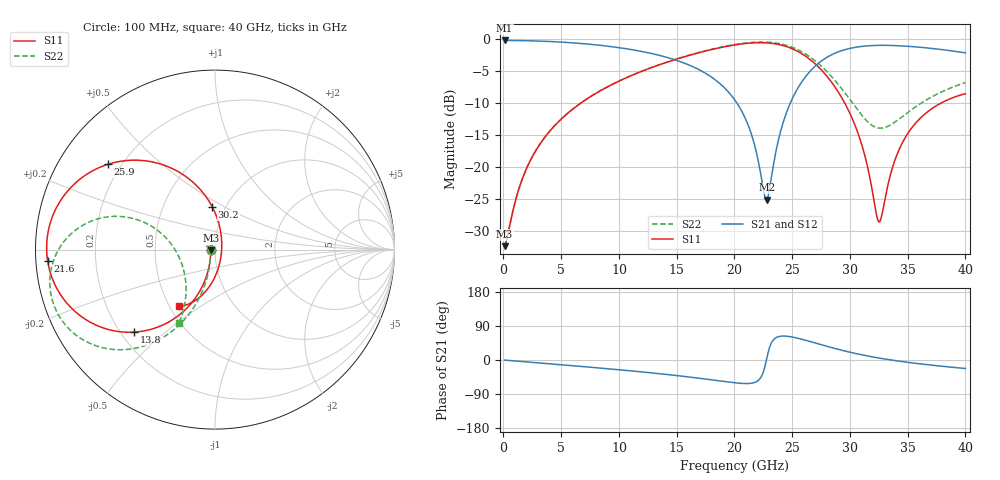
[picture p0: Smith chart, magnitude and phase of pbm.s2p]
! E_s8_L1L3_p1200_round_g2: reduced via model, differential mode (per line 50 ohm)
# Hz S RI R 50
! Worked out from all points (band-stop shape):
!   400 points, 100 MHz to 40 GHz, reference 50 ohm
!   highest |S21| = -0.21 dB at 100 MHz (marker M1); lowest = -25.1 dB at 22.8 GHz (marker M2)
!   |S21| within 3 dB of the highest: start of sweep to 14.8 GHz; 27.7 GHz to end of sweep
!   lowest |S11| = -32.4 dB at 100 MHz (marker M3), VSWR 1.05, Z = 47.7 - j0.44 ohm
!   |S11| at or under -10 dB: start of sweep to 6.699 GHz; 29.55 GHz to 37.89 GHz (8.341 GHz wide, 24.7 % of centre)
!   |S22| runs from -32.4 to -0.5 dB; largest |S21 - S12| = 0
!   S11 on the Smith chart (normalised r, x): 100 MHz: 0.95, -0.01; 13.8 GHz: 0.25, -0.40; 21.6 GHz: 0.03, -0.03; 25.9 GHz: 0.15, +0.34; 30.2 GHz: 0.87, +0.44; 40 GHz: 0.56, -0.41
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1e8  -0.0236 -0.00461  0.9764 -0.00423  0.9764 -0.00423  -0.0236 -0.00464
1.3e9  -0.0274 -0.0598  0.973 -0.0548  0.973 -0.0548  -0.0266 -0.0602
2.5e9  -0.0377 -0.1144  0.9637 -0.1049  0.9637 -0.1049  -0.0347 -0.1153
4.3e9  -0.0655 -0.1935  0.9388 -0.1778  0.9388 -0.1778  -0.0566 -0.1962
6.8e9  -0.1281 -0.2943  0.8823 -0.2718  0.8823 -0.2718  -0.1063 -0.3028
1.34e10  -0.4265 -0.4578  0.6089 -0.4389  0.6089 -0.4389  -0.3492 -0.52
1.38e10  -0.4508 -0.4598  0.5863 -0.4428  0.5863 -0.4428  -0.3696 -0.5283
1.73e10  -0.6865 -0.4092  0.3599 -0.4207  0.3599 -0.4207  -0.5787 -0.5551
2.01e10  -0.873 -0.2309  0.1624 -0.2847  0.1624 -0.2847  -0.7746 -0.476
2.16e10  -0.9324 -0.0631  0.0812 -0.1441  0.0812 -0.1441  -0.8677 -0.3714
2.28e10  -0.9288 0.1039  0.0553 0.00407  0.0553 0.00407  -0.9137 -0.251
2.42e10  -0.8375 0.306  0.0991 0.1961  0.0991 0.1961  -0.9064 -0.0823
2.59e10  -0.5965 0.4752  0.276 0.3837  0.276 0.3837  -0.7836 0.1034
2.67e10  -0.4564 0.4983  0.3912 0.4274  0.3912 0.4274  -0.6911 0.1579
2.85e10  -0.173 0.4145  0.6452 0.4037  0.6452 0.4037  -0.467 0.176
3.02e10  -0.0157 0.2389  0.807 0.2797  0.807 0.2797  -0.3044 0.0948
3.13e10  0.0278 0.1188  0.8632 0.1833  0.8632 0.1833  -0.2368 0.0212
3.25e10  0.0372 0.000661  0.8903 0.0816  0.8903 0.0816  -0.1919 -0.0613
3.34e10  0.0263 -0.0752  0.8933 0.0122  0.8933 0.0122  -0.1731 -0.1198
3.44e10  0.00252 -0.1458  0.8844 -0.0566  0.8844 -0.0566  -0.1632 -0.1795
3.57e10  -0.0396 -0.2172  0.8595 -0.1329  0.8595 -0.1329  -0.1619 -0.2479
4e10  -0.2014 -0.3154  0.7214 -0.2979  0.7214 -0.2979  -0.2021 -0.4107
